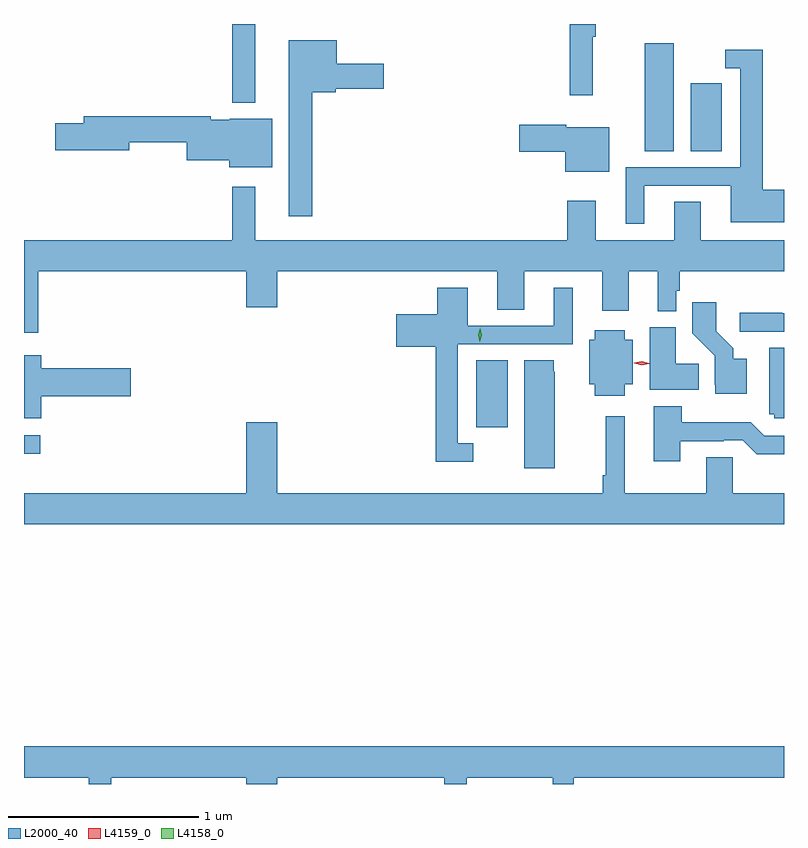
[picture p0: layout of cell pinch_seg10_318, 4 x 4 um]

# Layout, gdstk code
import gdstk
lib = gdstk.Library(unit=1e-6, precision=1e-09)
def R(c, l, rs):  # rectangles x0, y0, x1, y1
    for r in rs: c.add(gdstk.rectangle(r[:2], r[2:], *l))
def P(c, l, *ps):  # polygons
    for p in ps: c.add(gdstk.Polygon(p, *l))
L2000_40 = (2000, 40)
L4158_0 = (4158, 0)
L4159_0 = (4159, 0)

pinch_seg10_318 = lib.new_cell('pinch_seg10_318')
R(pinch_seg10_318, L2000_40, [(403.599,1287.369,403.684,1287.465), (405.98,1287.507,406.144,1287.86), (406.865,1288.96,407.02,1289.53), (407.108,1288.96,407.272,1289.317), (404.694,1289.216,404.815,1289.63)])
P(pinch_seg10_318, L2000_40, [(406.592,1289.564),(406.607,1289.564),(406.607,1289.63),(406.471,1289.63),(406.471,1289.256),(406.592,1289.256)],
  [(405.115,1289.27),(405.24,1289.27),(405.24,1289.288),(405.493,1289.288),(405.493,1289.422),(405.244,1289.422),(405.244,1289.545),(404.993,1289.545),(404.993,1288.617),(405.115,1288.617)],
  [(406.864,1288.779),(407.318,1288.779),(407.318,1288.586),(407.599,1288.586),(407.599,1288.757),(407.486,1288.757),(407.486,1289.494),(407.289,1289.494),(407.289,1289.397),(407.37,1289.397),(407.37,1288.875),(406.766,1288.875),(406.766,1288.578),(406.864,1288.578)],
  [(404.905,1289.131),(404.682,1289.131),(404.682,1289.125),(404.582,1289.125),(404.582,1289.144),(403.913,1289.144),(403.913,1289.108),(403.764,1289.108),(403.764,1288.966),(404.152,1288.966),(404.152,1289.008),(404.456,1289.008),(404.456,1288.913),(404.678,1288.913),(404.678,1288.877),(404.905,1288.877)],
  [(406.678,1289.086),(406.452,1289.086),(406.452,1289.099),(406.206,1289.099),(406.206,1288.957),(406.448,1288.957),(406.448,1288.853),(406.678,1288.853)],
  [(407.021,1288.492),(406.609,1288.492),(406.609,1288.699),(406.457,1288.699),(406.457,1288.492),(404.815,1288.492),(404.815,1288.774),(404.694,1288.774),(404.694,1288.492),(403.599,1288.492),(403.599,1288.005),(403.673,1288.005),(403.673,1288.328),(404.768,1288.328),(404.768,1288.14),(404.932,1288.14),(404.932,1288.328),(406.091,1288.328),(406.091,1288.126),(406.231,1288.126),(406.231,1288.328),(406.643,1288.328),(406.643,1288.122),(406.783,1288.122),(406.783,1288.328),(406.934,1288.328),(406.934,1288.118),(407.031,1288.118),(407.031,1288.227),(407.051,1288.227),(407.051,1288.328),(407.599,1288.328),(407.599,1288.492),(407.161,1288.492),(407.161,1288.694),(407.021,1288.694)],
  [(405.964,1287.423),(405.882,1287.423),(405.882,1287.945),(406.486,1287.945),(406.486,1288.243),(406.388,1288.243),(406.388,1288.041),(405.934,1288.041),(405.934,1288.243),(405.773,1288.243),(405.773,1288.102),(405.558,1288.102),(405.558,1287.932),(405.766,1287.932),(405.766,1287.326),(405.964,1287.326)],
  [(407.404,1287.868),(407.332,1287.868),(407.332,1287.923),(407.242,1288.013),(407.242,1288.165),(407.116,1288.165),(407.116,1288.002),(407.235,1287.883),(407.235,1287.732),(407.237,1287.732),(407.237,1287.683),(407.404,1287.683)],
  [(407.599,1288.107),(407.591,1288.107),(407.591,1288.11),(407.367,1288.11),(407.367,1288.011),(407.599,1288.011)],
  [(407.15,1287.842),(407.029,1287.842),(407.029,1288.033),(406.892,1288.033),(406.892,1287.704),(407.15,1287.704)],
  [(406.762,1287.734),(406.804,1287.734),(406.804,1287.967),(406.762,1287.967),(406.762,1288.018),(406.604,1288.018),(406.604,1287.967),(406.574,1287.967),(406.574,1287.734),(406.604,1287.734),(406.604,1287.674),(406.762,1287.674)],
  [(407.599,1287.925),(407.522,1287.925),(407.522,1287.576),(407.547,1287.576),(407.547,1287.555),(407.599,1287.555)],
  [(403.69,1287.671),(404.161,1287.671),(404.161,1287.818),(403.69,1287.818),(403.69,1287.886),(403.599,1287.886),(403.599,1287.554),(403.69,1287.554)],
  [(406.393,1287.801),(406.387,1287.801),(406.387,1287.86),(406.232,1287.86),(406.232,1287.291),(406.393,1287.291)],
  [(407.053,1287.435),(407.282,1287.435),(407.282,1287.438),(407.382,1287.438),(407.455,1287.365),(407.599,1287.365),(407.599,1287.462),(407.496,1287.462),(407.423,1287.535),(407.061,1287.535),(407.061,1287.619),(406.913,1287.619),(406.913,1287.33),(407.053,1287.33)],
  [(407.599,1287.16),(407.328,1287.16),(407.328,1287.35),(407.189,1287.35),(407.189,1287.16),(406.762,1287.16),(406.762,1287.565),(406.66,1287.565),(406.66,1287.256),(406.645,1287.256),(406.645,1287.16),(404.932,1287.16),(404.932,1287.535),(404.768,1287.535),(404.768,1287.16),(403.599,1287.16),(403.599,1286.996),(407.599,1286.996)],
  [(404.057,1285.664),(404.768,1285.664),(404.768,1285.63),(404.932,1285.63),(404.932,1285.664),(405.811,1285.664),(405.811,1285.63),(405.929,1285.63),(405.929,1285.664),(406.382,1285.664),(406.382,1285.63),(406.492,1285.63),(406.492,1285.664),(407.599,1285.664),(407.599,1285.828),(403.599,1285.828),(403.599,1285.664),(403.94,1285.664),(403.94,1285.63),(404.057,1285.63)])
P(pinch_seg10_318, L4158_0, [(405.998,1287.957),(405.998,1287.958),(405.99,1287.994),(406.001,1288.029),(406.001,1288.029),(406.001,1288.029),(406.009,1287.993),(405.998,1287.958)])
P(pinch_seg10_318, L4159_0, [(406.849,1287.834),(406.81,1287.845),(406.81,1287.845),(406.81,1287.846),(406.85,1287.854),(406.889,1287.844),(406.889,1287.844),(406.889,1287.843)])

lib.write_gds('pinch_seg10_318.gds')
